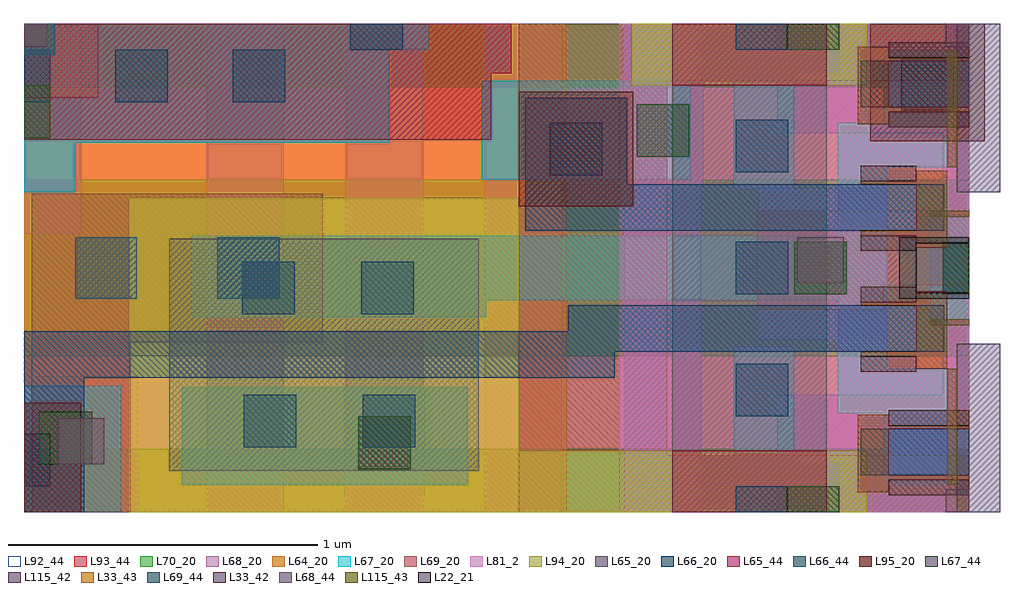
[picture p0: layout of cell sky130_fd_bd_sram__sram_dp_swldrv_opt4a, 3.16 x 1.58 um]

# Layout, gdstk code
from math import pi, radians
import gdstk
lib = gdstk.Library(unit=1e-6, precision=1e-09)
def R(c, l, rs):  # rectangles x0, y0, x1, y1
    for r in rs: c.add(gdstk.rectangle(r[:2], r[2:], *l))
def A(c, l, x, y, w, h, nx, ny, dx, dy):  # array of equal rectangles
    R(c, l, [(x+i*dx, y+j*dy, x+i*dx+w, y+j*dy+h) for i in range(nx) for j in range(ny)])
def P(c, l, *ps):  # polygons
    for p in ps: c.add(gdstk.Polygon(p, *l))
L22_21 = (22, 21)
L33_42 = (33, 42)
L33_43 = (33, 43)
L64_20 = (64, 20)
L65_20 = (65, 20)
L65_44 = (65, 44)
L66_20 = (66, 20)
L66_44 = (66, 44)
L67_20 = (67, 20)
L67_44 = (67, 44)
L68_20 = (68, 20)
L68_44 = (68, 44)
L69_20 = (69, 20)
L69_44 = (69, 44)
L70_20 = (70, 20)
L81_2 = (81, 2)
L92_44 = (92, 44)
L93_44 = (93, 44)
L94_20 = (94, 20)
L95_20 = (95, 20)
L115_42 = (115, 42)
L115_43 = (115, 43)

sky130_fd_bd_sram__sram_ = lib.new_cell('sky130_fd_bd_sram__sram_dp_swldrv_mcon')
R(sky130_fd_bd_sram__sram_, L67_44, [(0,0.07,0.17,0.24), (0.9,1.08,1.07,1.25)])
R(sky130_fd_bd_sram__sram_, L68_20, [(-0.045,-0.02,0.215,0.33), (0.855,0.99,1.115,1.34)])

c_sky130_fd_bd_sram__sram_ = lib.new_cell('sky130_fd_bd_sram__sram_dp_mcon_05')
R(c_sky130_fd_bd_sram__sram_, L67_44, [(-0.085,0,0.085,0.085)])

c_sky130_fd_bd_sram__sram__ = lib.new_cell('sky130_fd_bd_sram__sram_dp_swldrv_opt1_poly_siz_opta')
R(c_sky130_fd_bd_sram__sram__, L33_42, [(0,0.01,0.26,0.06)])
R(c_sky130_fd_bd_sram__sram__, L33_43, [(0,0,0.26,0.01)])

c_sky130_fd_bd_sram__sram___ = lib.new_cell('sky130_fd_bd_sram__sram_dp_swldrv_opt1_poly_siz_optc')
R(c_sky130_fd_bd_sram__sram___, L33_42, [(-0.18,0.01,0,0.06)])
R(c_sky130_fd_bd_sram__sram___, L33_43, [(-0.18,0,0,0.01)])

c_sky130_fd_bd_sram__sram____ = lib.new_cell('sky130_fd_bd_sram__sram_dp_swldrv_opt1_poly_siz_optb')
R(c_sky130_fd_bd_sram__sram____, L33_42, [(0,-0.065,0.26,-0.015)])
R(c_sky130_fd_bd_sram__sram____, L33_43, [(0,-0.015,0.26,0)])

c_sky130_fd_bd_sram__sram_____ = lib.new_cell('sky130_fd_bd_sram__sram_dp_swldrv_opt1_poly_siz_optd')
R(c_sky130_fd_bd_sram__sram_____, L33_42, [(-0.18,-0.065,0,-0.015)])
R(c_sky130_fd_bd_sram__sram_____, L33_43, [(-0.18,-0.015,0,0)])

c_sky130_fd_bd_sram__sram______ = lib.new_cell('sky130_fd_bd_sram__sram_dp_swldrv_p1m_siz')
c_sky130_fd_bd_sram__sram______.add(gdstk.Reference(c_sky130_fd_bd_sram__sram__, (-0.26,0.27)))
c_sky130_fd_bd_sram__sram______.add(gdstk.Reference(c_sky130_fd_bd_sram__sram__, (-0.26,1.46)))
c_sky130_fd_bd_sram__sram______.add(gdstk.Reference(c_sky130_fd_bd_sram__sram___, (-0.17,1.06)))
c_sky130_fd_bd_sram__sram______.add(gdstk.Reference(c_sky130_fd_bd_sram__sram___, (-0.17,0.67)))
c_sky130_fd_bd_sram__sram______.add(gdstk.Reference(c_sky130_fd_bd_sram__sram____, (-0.26,0.12)))
c_sky130_fd_bd_sram__sram______.add(gdstk.Reference(c_sky130_fd_bd_sram__sram____, (-0.26,1.31)))
c_sky130_fd_bd_sram__sram______.add(gdstk.Reference(c_sky130_fd_bd_sram__sram_____, (-0.17,0.91)))
c_sky130_fd_bd_sram__sram______.add(gdstk.Reference(c_sky130_fd_bd_sram__sram_____, (-0.17,0.52)))

c_sky130_fd_bd_sram__sram_______ = lib.new_cell('sky130_fd_bd_sram__sram_dp_swldrv_p1lic')
R(c_sky130_fd_bd_sram__sram_______, L66_44, [(-0.22,0.11,-0.05,0.28)])
R(c_sky130_fd_bd_sram__sram_______, L95_20, [(-0.32,0,0.05,0.38)])

c_sky130_fd_bd_sram__sram________ = lib.new_cell('sky130_fd_bd_sram__sram_dp_cell_poly_srf_opta')
R(c_sky130_fd_bd_sram__sram________, L33_43, [(-0.1,-0.2,0,0.05)])

c_sky130_fd_bd_sram__sram_________ = lib.new_cell('sky130_fd_bd_sram__sram_dp_swldrv_p1m_ser')
c_sky130_fd_bd_sram__sram_________.add(gdstk.Reference(c_sky130_fd_bd_sram__sram________, (-0.26,1.46)))
c_sky130_fd_bd_sram__sram_________.add(gdstk.Reference(c_sky130_fd_bd_sram__sram________, (-0.26,0.27)))
c_sky130_fd_bd_sram__sram_________.add(gdstk.Reference(c_sky130_fd_bd_sram__sram________, (-0.17,0.67), rotation=pi, x_reflection=True))
c_sky130_fd_bd_sram__sram_________.add(gdstk.Reference(c_sky130_fd_bd_sram__sram________, (-0.17,1.06), rotation=pi, x_reflection=True))

c_sky130_fd_bd_sram__sram__________ = lib.new_cell('sky130_fd_bd_sram__sram_dp_licon_05')
R(c_sky130_fd_bd_sram__sram__________, L66_44, [(-0.085,0,0.085,0.085)])

c_sky130_fd_bd_sram__sram___________ = lib.new_cell('sky130_fd_bd_sram__sram_dp_licon_1')
c_sky130_fd_bd_sram__sram___________.add(gdstk.Reference(c_sky130_fd_bd_sram__sram__________, (0,0)))
c_sky130_fd_bd_sram__sram___________.add(gdstk.Reference(c_sky130_fd_bd_sram__sram__________, (0,0), x_reflection=True))

c_sky130_fd_bd_sram__sram____________ = lib.new_cell('sky130_fd_bd_sram__sram_dp_swldrv_base')
R(c_sky130_fd_bd_sram__sram____________, L22_21, [(-0.225,0.69,-0.17,0.89), (-0.17,0.69,0,0.71), (-0.17,0.87,0,0.89)])
R(c_sky130_fd_bd_sram__sram____________, L64_20, [(-3.055,0,-1.3,1.58)])
R(c_sky130_fd_bd_sram__sram____________, L65_20, [(-2.585,0.135,-1.585,0.885), (-0.96,0.2,-0.46,1.38), (-0.17,0.71,0,0.87)])
R(c_sky130_fd_bd_sram__sram____________, L65_44, [(-0.96,0,-0.46,0.2)])
R(c_sky130_fd_bd_sram__sram____________, L66_20, [(-3.055,0,-2.86,0.585), (-0.35,0.12,0,0.27), (-0.35,0.12,0,0.27), (-0.35,1.31,0,1.46), (-0.35,1.31,0,1.46)])
P(c_sky130_fd_bd_sram__sram____________, L66_20, [(-1.435,0.91),(-1.435,1.34),(-1.105,1.34),(-1.105,1.06),(-0.08,1.06),(-0.08,0.91)],
  [(-2.86,0.435),(-2.86,0.585),(-1.295,0.585),(-1.295,0.67),(-0.08,0.67),(-0.08,0.52),(-1.145,0.52),(-1.145,0.435)])
A(c_sky130_fd_bd_sram__sram____________, L66_44, -0.755, 0.31, 0.17, 0.17, 1, 3, 0, 0.395)
R(c_sky130_fd_bd_sram__sram____________, L66_44, [(-0.755,0,-0.585,0.085), (-0.085,0.705,0,0.875), (-1.355,1.09,-1.185,1.26)])
R(c_sky130_fd_bd_sram__sram____________, L67_20, [(-3.055,0,-2.74,0.41), (-2.545,0.09,-1.62,0.405), (-0.125,0.625,0,0.955), (-1.575,1.075,-0.9,1.395)])
P(c_sky130_fd_bd_sram__sram____________, L67_20, [(-2.515,0.63),(-2.515,0.895),(-0.265,0.895),(-0.265,0.685),(-1.56,0.685),(-1.56,0.63)],
  [(-0.76,1.045),(-0.76,1.58),(-0.42,1.58),(-0.42,1.42),(-0.565,1.42),(-0.565,1.045)],
  [(-0.275,0.09),(-0.275,0.32),(-0.425,0.32),(-0.425,0.895),(-0.265,0.895),(-0.265,0.465),(-0.07,0.465),(-0.07,0.09)],
  [(-0.425,0.685),(-0.425,1.26),(-0.275,1.26),(-0.275,1.49),(-0.07,1.49),(-0.07,1.115),(-0.265,1.115),(-0.265,0.685)],
  [(-0.76,0),(-0.76,0.535),(-0.565,0.535),(-0.565,0.16),(-0.42,0.16),(-0.42,0)])
R(c_sky130_fd_bd_sram__sram____________, L67_44, [(-0.59,0,-0.42,0.085), (-0.565,0.705,-0.395,0.875), (-0.085,0.705,0,0.875), (-0.59,1.495,-0.42,1.58)])
A(c_sky130_fd_bd_sram__sram____________, L68_20, -2.465, 0, 0.25, 1.58, 4, 1, 0.45, 0)
P(c_sky130_fd_bd_sram__sram____________, L68_20, [(-0.62,0),(-0.62,0.38),(-0.085,0.38),(-0.085,1.225),(-0.62,1.225),(-0.62,1.58),(0,1.58),(0,0)],
  [(-0.685,0.56),(-0.685,0.98),(-0.68,0.98),(-0.68,1.045),(-0.265,1.045),(-0.265,0.56)])
R(c_sky130_fd_bd_sram__sram____________, L92_44, [(-3.055,0,0,1.58)])
R(c_sky130_fd_bd_sram__sram____________, L93_44, [(-3.055,0,-2.715,1.015), (-1.455,0.2,-1.09,0.91), (-1.455,0.91,-1.09,1.58)])
P(c_sky130_fd_bd_sram__sram____________, L93_44, [(-0.33,0),(-0.33,0.2),(-1.09,0.2),(-1.09,1.38),(-0.33,1.38),(-0.33,1.58),(0,1.58),(0,0)])
R(c_sky130_fd_bd_sram__sram____________, L94_20, [(-1.35,0,-0.33,0.2)])
P(c_sky130_fd_bd_sram__sram____________, L94_20, [(-2.715,0),(-2.715,1.015),(-1.455,1.015),(-1.455,0.2),(-1.09,0.2),(-1.09,0)])
R(c_sky130_fd_bd_sram__sram____________, L95_20, [(-3.055,0,-2.87,0.355), (-1.455,0.99,-1.085,1.36)])
R(c_sky130_fd_bd_sram__sram____________, L115_42, [(-0.04,0,0.1,0.545), (-0.04,1.035,0.1,1.58)])
R(c_sky130_fd_bd_sram__sram____________, L115_43, [(-0.07,0.09,-0.04,0.465), (-0.125,0.605,0,0.625), (-0.125,0.955,0,0.975), (-0.07,1.115,-0.04,1.49)])
c_sky130_fd_bd_sram__sram____________.add(gdstk.Reference(c_sky130_fd_bd_sram__sram___________, (-2.26,0.295)))
c_sky130_fd_bd_sram__sram____________.add(gdstk.Reference(c_sky130_fd_bd_sram__sram___________, (-1.875,0.295)))
c_sky130_fd_bd_sram__sram____________.add(gdstk.Reference(c_sky130_fd_bd_sram__sram___________, (-1.88,0.725)))
c_sky130_fd_bd_sram__sram____________.add(gdstk.Reference(c_sky130_fd_bd_sram__sram___________, (-2.265,0.725)))
c_sky130_fd_bd_sram__sram____________.add(gdstk.Reference(c_sky130_fd_bd_sram__sram__________, (-3.055,0.17), rotation=3*pi/2))

c_sky130_fd_bd_sram__sram_____________ = lib.new_cell('sky130_fd_bd_sram__sram_dp_swldrv_coreid')
R(c_sky130_fd_bd_sram__sram_____________, L81_2, [(0,0,1.13,1.58)])

c_sky130_fd_bd_sram__sram______________ = lib.new_cell('sky130_fd_bd_sram__sram_dp_swldrv_strap2')
R(c_sky130_fd_bd_sram__sram______________, L67_44, [(0.05,0.155,0.22,0.325)])
R(c_sky130_fd_bd_sram__sram______________, L68_20, [(0,0,0.37,0.44), (0,0.9,0.185,1.58)])
R(c_sky130_fd_bd_sram__sram______________, L68_44, [(0.11,0.155,0.26,0.305)])
R(c_sky130_fd_bd_sram__sram______________, L69_20, [(0.025,0,0.345,0.435)])

c_sky130_fd_bd_sram__sram_______________ = lib.new_cell('sky130_fd_bd_sram__sram_dp_swldrv_met2_lwl')
R(c_sky130_fd_bd_sram__sram_______________, L68_44, [(-0.555,0.69,-0.405,0.84)])
P(c_sky130_fd_bd_sram__sram_______________, L69_20, [(-0.685,0.605),(-0.685,0.925),(-0.275,0.925),(-0.275,0.845),(0,0.845),(0,0.605)])

c_sky130_fd_bd_sram__sram________________ = lib.new_cell('sky130_fd_bd_sram__sram_dp_swldrv_met23_2a')
R(c_sky130_fd_bd_sram__sram________________, L68_20, [(-3.055,1.375,-2.895,1.58)])
R(c_sky130_fd_bd_sram__sram________________, L68_44, [(-0.075,0,0,0.075), (-3.055,1.505,-2.98,1.58), (-0.075,1.505,0,1.58)])
R(c_sky130_fd_bd_sram__sram________________, L69_20, [(-3.055,1.34,-2.815,1.58)])
P(c_sky130_fd_bd_sram__sram________________, L69_20, [(-1.455,0),(-1.455,1.58),(0,1.58),(0,1.395),(-0.975,1.395),(-0.975,0.185),(0,0.185),(0,0)],
  [(-3.03,0.435),(-3.03,1.03),(-2.09,1.03),(-2.09,0.55),(-2.71,0.55),(-2.71,0.435)])
R(c_sky130_fd_bd_sram__sram________________, L69_44, [(-2.89,0.69,-2.69,0.89), (-2.43,0.69,-2.23,0.89), (-3.055,1.48,-2.955,1.58)])
R(c_sky130_fd_bd_sram__sram________________, L70_20, [(-3.055,0,0,0.205), (-3.055,0.505,0,1.075), (-3.025,0.575,-2.135,1.005), (-3.055,1.375,0,1.58)])

c_sky130_fd_bd_sram__sram_________________ = lib.new_cell('sky130_fd_bd_sram__sram_dp_swldrv_tap')
R(c_sky130_fd_bd_sram__sram_________________, L65_44, [(2.095,0.035,2.595,0.235)])
P(c_sky130_fd_bd_sram__sram_________________, L65_44, [(0,-0.14),(0,0.235),(1.575,0.235),(1.575,0.075),(1.51,0.075),(1.51,-0.14)])
R(c_sky130_fd_bd_sram__sram_________________, L66_44, [(1.055,0.15,1.225,0.235), (2.3,0.15,2.47,0.235)])
R(c_sky130_fd_bd_sram__sram_________________, L67_20, [(0,-0.31,0.165,0.235), (0.165,-0.15,1.18,0.15), (0.11,0.15,1.31,0.235)])
R(c_sky130_fd_bd_sram__sram_________________, L93_44, [(0,-0.33,1.965,0.235)])
R(c_sky130_fd_bd_sram__sram_________________, L94_20, [(1.965,0.035,2.725,0.235)])
c_sky130_fd_bd_sram__sram_________________.add(gdstk.Reference(c_sky130_fd_bd_sram__sram__________, (0,0.065), rotation=3*pi/2))
c_sky130_fd_bd_sram__sram_________________.add(gdstk.Reference(c_sky130_fd_bd_sram__sram___________, (0.38,0.065)))
c_sky130_fd_bd_sram__sram_________________.add(gdstk.Reference(c_sky130_fd_bd_sram__sram___________, (0.76,0.065)))

c_sky130_fd_bd_sram__sram__________________ = lib.new_cell('sky130_fd_bd_sram__sram_dp_swldrv_opt4a')
c_sky130_fd_bd_sram__sram__________________.add(gdstk.Reference(sky130_fd_bd_sram__sram_, (1.08,0.07)))
c_sky130_fd_bd_sram__sram__________________.add(gdstk.Reference(c_sky130_fd_bd_sram__sram_, (0,1.295), rotation=3*pi/2))
c_sky130_fd_bd_sram__sram__________________.add(gdstk.Reference(c_sky130_fd_bd_sram__sram______, (3.055,0)))
c_sky130_fd_bd_sram__sram__________________.add(gdstk.Reference(c_sky130_fd_bd_sram__sram_______, (3.055,1.58), x_reflection=True))
c_sky130_fd_bd_sram__sram__________________.add(gdstk.Reference(c_sky130_fd_bd_sram__sram_________, (3.055,-0.005)))
c_sky130_fd_bd_sram__sram__________________.add(gdstk.Reference(c_sky130_fd_bd_sram__sram____________, (3.055,0)))
c_sky130_fd_bd_sram__sram__________________.add(gdstk.Reference(c_sky130_fd_bd_sram__sram_____________, (1.925,0)))
c_sky130_fd_bd_sram__sram__________________.add(gdstk.Reference(c_sky130_fd_bd_sram__sram______________, (0,0)))
c_sky130_fd_bd_sram__sram__________________.add(gdstk.Reference(c_sky130_fd_bd_sram__sram_______________, (3.055,1.58), x_reflection=True))
c_sky130_fd_bd_sram__sram__________________.add(gdstk.Reference(c_sky130_fd_bd_sram__sram________________, (3.055,0)))
c_sky130_fd_bd_sram__sram__________________.add(gdstk.Reference(c_sky130_fd_bd_sram__sram_________________, (0,1.345)))

lib.write_gds('sky130_fd_bd_sram__sram_dp_swldrv_opt4a.gds')
